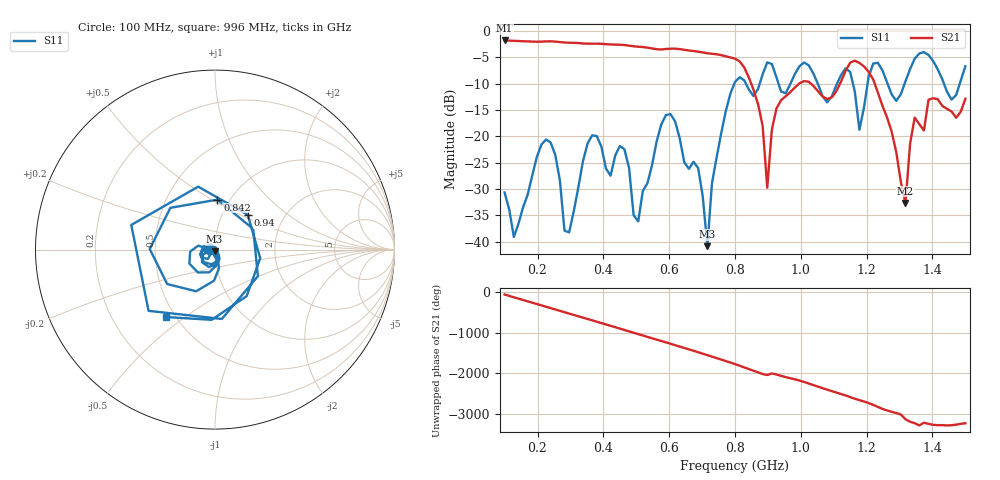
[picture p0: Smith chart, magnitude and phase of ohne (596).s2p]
! NanoVNA-App
! Date: 2025-09-25 14:25:26
! Start: 100MHz Stop: 1,5GHz Points: 101
! S-Parameter data: F S11 S21 S12 S22
# Hz S RI R 50
!  Frequency  S11_Real  S11_Imag  S21_Real  S21_Imag  S12_Real  S12_Imag  S22_Real  S22_Imag
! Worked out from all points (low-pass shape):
!   101 points, 100 MHz to 1.5 GHz, reference 50 ohm
!   highest |S21| = -1.79 dB at 100 MHz (marker M1); lowest = -32.6 dB at 1.318 GHz (marker M2)
!   |S21| within 3 dB of the highest: start of sweep to 771.8 MHz
!   lowest |S11| = -40.8 dB at 716 MHz (marker M3), VSWR 1.02, Z = 49.7 - j0.866 ohm
!   |S11| at or under -10 dB: start of sweep to 797.9 MHz; 833.2 MHz to 875.1 MHz (41.91 MHz wide, 4.91 % of centre); 1.051 GHz to 1.11 GHz (58.52 MHz wide, 5.41 % of centre) (the widest 3 of 7)
!   S12 and S22 are empty: the file has one direction only
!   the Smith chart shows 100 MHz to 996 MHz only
!   S11 on the Smith chart (normalised r, x): 100 MHz: 0.94, -0.01; 842 MHz: 0.88, +0.53; 940 MHz: 1.32, +0.55; 996 MHz: 0.45, -0.43
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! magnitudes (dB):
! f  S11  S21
! 100 MHz  -30.6  -1.8
! 128 MHz  -39.1  -1.9
! 226 MHz  -20.6  -2.0
! 296 MHz  -38.2  -2.2
! 338 MHz  -24.7  -2.4
! 464 MHz  -22.5  -2.7
! 506 MHz  -36.1  -3.0
! 576 MHz  -17.7  -3.5
! 688 MHz  -26.0  -3.9
! 716 MHz  -40.8  -4.2
! 800 MHz  -9.7  -5.2
! 842 MHz  -11.1  -8.8
! 898 MHz  -6.0  -29.7
! 940 MHz  -11.5  -13.1
! 996 MHz  -6.7  -9.9
! 1.038 GHz  -8.0  -10.4
! 1.178 GHz  -18.7  -6.1
! 1.22 GHz  -6.2  -9.2
! 1.276 GHz  -12.0  -19.1
! 1.318 GHz  -9.5  -32.6
! 1.346 GHz  -5.3  -16.4
! 1.5 GHz  -6.7  -12.9
